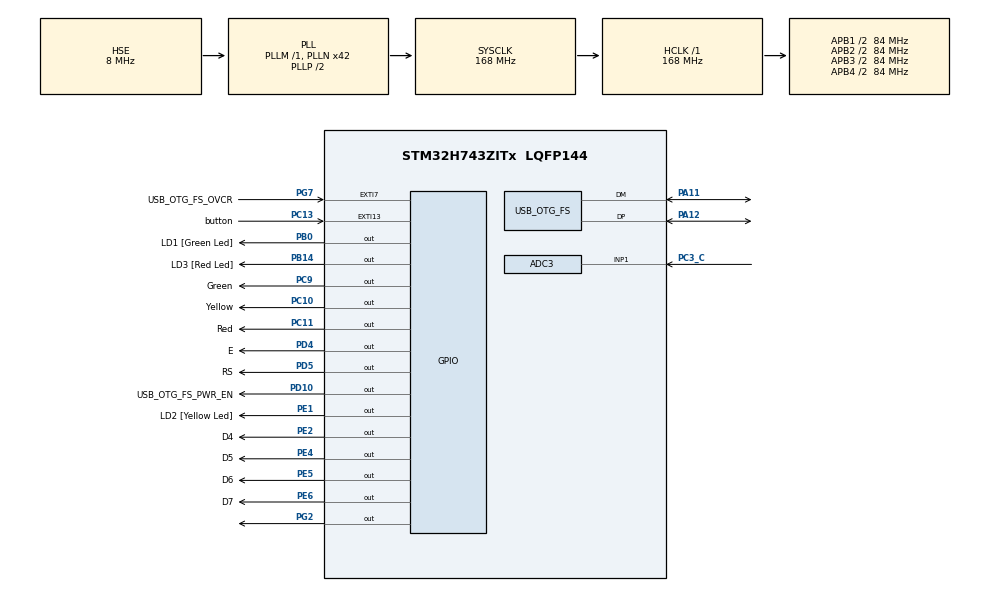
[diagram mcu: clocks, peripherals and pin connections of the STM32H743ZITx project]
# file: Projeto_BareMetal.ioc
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ADC3.Channel-0\#ChannelRegularConversion=ADC_CHANNEL_1
ADC3.ClockPrescalerADC3=ADC_CLOCK_ASYNC_DIV4
ADC3.ContinuousConvMode=ENABLE
ADC3.EOCSelection=ADC_EOC_SINGLE_CONV
ADC3.NbrOfConversion=1
ADC3.NbrOfConversionFlag=1
ADC3.OffsetNumber-0\#ChannelRegularConversion=ADC_OFFSET_NONE
ADC3.OffsetSignedSaturation-0\#ChannelRegularConversion=DISABLE
ADC3.Rank-0\#ChannelRegularConversion=1
ADC3.Resolution=ADC_RESOLUTION_12B
ADC3.SamplingTime-0\#ChannelRegularConversion=ADC_SAMPLETIME_64CYCLES_5
Mcu.Family=STM32H7
Mcu.Name=STM32H743ZITx
Mcu.Package=LQFP144
NVIC.ADC3_IRQn=true\:0\:0\:false\:false\:true\:true\:true\:true
NVIC.EXTI15_10_IRQn=true\:0\:0\:false\:false\:true\:true\:true\:true
NVIC.OTG_FS_IRQn=true\:0\:0\:false\:false\:true\:true\:true\:true
NVIC.PriorityGroup=NVIC_PRIORITYGROUP_4
NVIC.TIM5_IRQn=true\:0\:0\:false\:false\:true\:true\:true\:true
NVIC.TIM6_DAC_IRQn=true\:0\:0\:false\:false\:true\:true\:true\:true
NVIC.TIM7_IRQn=true\:0\:0\:false\:false\:true\:true\:true\:true
PA1.Signal=ETH_REF_CLK
PA11.Mode=Device_Only
PA11.Signal=USB_OTG_FS_DM
PA12.Mode=Device_Only
PA12.Signal=USB_OTG_FS_DP
PA13\ (JTMS/SWDIO).Mode=Serial_Wire
PA13\ (JTMS/SWDIO).Signal=DEBUG_JTMS-SWDIO
PA14\ (JTCK/SWCLK).Mode=Serial_Wire
PA14\ (JTCK/SWCLK).Signal=DEBUG_JTCK-SWCLK
PA2.Signal=ETH_MDIO
PA7.Signal=ETH_CRS_DV
PA8.Signal=USB_OTG_FS_SOF
PA9.Signal=USB_OTG_FS_VBUS
PB0.GPIO_Label=LD1 [Green Led]
PB0.Signal=GPIO_Output
PB13.Signal=ETH_TXD1
PB14.GPIO_Label=LD3 [Red Led]
PB14.Signal=GPIO_Output
PC1.Signal=ETH_MDC
PC10.GPIO_Label=Yellow
PC10.Signal=GPIO_Output
PC11.GPIO_Label=Red
PC11.Signal=GPIO_Output
PC13.GPIO_Label=button
PC13.GPIO_ModeDefaultEXTI=GPIO_MODE_IT_RISING_FALLING
PC13.Signal=GPXTI13
PC14-OSC32_IN\ (OSC32_IN).Mode=LSE-External-Oscillator
PC14-OSC32_IN\ (OSC32_IN).Signal=RCC_OSC32_IN
PC15-OSC32_OUT\ (OSC32_OUT).Mode=LSE-External-Oscillator
PC15-OSC32_OUT\ (OSC32_OUT).Signal=RCC_OSC32_OUT
PC3_C.Mode=IN1-Single-Ended
PC3_C.Signal=ADC3_INP1
PC4.Signal=ETH_RXD0
PC5.Signal=ETH_RXD1
PC9.GPIO_Label=Green
PC9.Signal=GPIO_Output
PD10.GPIO_Label=USB_OTG_FS_PWR_EN
PD10.Signal=GPIO_Output
PD4.GPIO_Label=E
PD4.Signal=GPIO_Output
PD5.GPIO_Label=RS
PD5.Signal=GPIO_Output
PD8.GPIO_Label=STLINK_RX
PD8.Signal=USART3_TX
PD9.GPIO_Label=STLINK_TX
PD9.Signal=USART3_RX
PE1.GPIO_Label=LD2 [Yellow Led]
PE1.Signal=GPIO_Output
PE2.GPIO_Label=D4
PE2.Signal=GPIO_Output
PE4.GPIO_Label=D5
PE4.Signal=GPIO_Output
PE5.GPIO_Label=D6
PE5.GPIO_Speed=GPIO_SPEED_FREQ_LOW
PE5.Signal=GPIO_Output
PE6.GPIO_Label=D7
PE6.Signal=GPIO_Output
PG11.Signal=ETH_TX_EN
PG13.Signal=ETH_TXD0
PG2.GPIO_PuPd=GPIO_PULLUP
PG2.Signal=GPIO_Output
PG7.GPIO_Label=USB_OTG_FS_OVCR
PG7.Signal=GPXTI7
PH0-OSC_IN\ (PH0).Mode=HSE-External-Oscillator
PH0-OSC_IN\ (PH0).Signal=RCC_OSC_IN
PH1-OSC_OUT\ (PH1).Mode=HSE-External-Oscillator
PH1-OSC_OUT\ (PH1).Signal=RCC_OSC_OUT
ProjectManager.HeapSize=0x200
ProjectManager.StackSize=0x400
ProjectManager.TargetToolchain=STM32CubeIDE
RCC.ADCFreq_Value=76000000
RCC.APB1Freq_Value=84000000
RCC.APB2Freq_Value=84000000
RCC.APB3Freq_Value=84000000
RCC.APB4Freq_Value=84000000
RCC.CortexFreq_Value=168000000
RCC.D1PPRE=RCC_APB3_DIV2
RCC.D2PPRE1=RCC_APB1_DIV2
RCC.D2PPRE2=RCC_APB2_DIV2
RCC.D3PPRE=RCC_APB4_DIV2
RCC.DIVM1=1
RCC.DIVM2=1
RCC.DIVN1=42
RCC.DIVN2=19
RCC.DIVQ1=7
RCC.HCLKFreq_Value=168000000
RCC.HSE_VALUE=8000000
RCC.PLLFRACN=0
RCC.PLLSourceVirtual=RCC_PLLSOURCE_HSE
RCC.PWR_Regulator_Voltage_Scale=PWR_REGULATOR_VOLTAGE_SCALE2
RCC.SYSCLKFreq_VALUE=168000000
RCC.SYSCLKSource=RCC_SYSCLKSOURCE_PLLCLK
RCC.USBFreq_Value=48000000
TIM1.Prescaler=168-1
TIM5.Period=5000
TIM5.Prescaler=16799
TIM6.Period=5000
TIM6.Prescaler=16799
TIM7.Period=5000
TIM7.Prescaler=16799
USB_DEVICE.CLASS_NAME_FS=CDC
USB_DEVICE.VirtualMode-CDC_FS=Cdc
USB_DEVICE.VirtualModeFS=Cdc_FS
USB_OTG_FS.VirtualMode=Device_Only
VP_MEMORYMAP_VS_MEMORYMAP.Mode=CurAppReg
VP_TIM1_VS_ClockSourceINT.Mode=Internal
VP_TIM5_VS_ClockSourceINT.Mode=Internal
VP_TIM6_VS_ClockSourceINT.Mode=Enable_Timer
VP_TIM7_VS_ClockSourceINT.Mode=Enable_Timer
VP_USB_DEVICE_VS_USB_DEVICE_CDC_FS.Mode=CDC_FS
board=NUCLEO-H743ZI2

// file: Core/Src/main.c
/* USER CODE BEGIN Header */
/**
  ******************************************************************************
  * @file           : main.c
  * @brief          : Main program body
  ******************************************************************************
  * @attention
  *
  * Copyright (c) 2024 STMicroelectronics.
  * All rights reserved.
  *
  * This software is licensed under terms that can be found in the LICENSE file
  * in the root directory of this software component.
  * If no LICENSE file comes with this software, it is provided AS-IS.
  *
  ******************************************************************************
  */
/* USER CODE END Header */
#include "main.h"
#include "adc.h"
#include "memorymap.h"
#include "tim.h"
#include "usb_device.h"
#include "gpio.h"

/* USER CODE BEGIN Includes */
#include "LCD1602.h"
#include "Data_Variables.h"
/* USER CODE END Includes */

/* USER CODE BEGIN PD */
#define CLICK_TIMEOUT 1000  // Tempo máximo entre cliques (1s)
#define TIMEOUT_ACTION3 3000  // Tempo máximo entre cliques (3s)
/* USER CODE END PD */

/* USER CODE BEGIN PV */
int8_t button = 0;              // Estado do botão: 1 = pressionado, -1 = solto

uint8_t flag_bloqueado = 0;
char command_send[16] = {0};

uint8_t flag_callback_timer6 = 0;
uint8_t flag_callback_timer7 = 0;

uint16_t frequencia_Buzzer = 0;        // Período do timer (em ms) para buzzer/LED
uint16_t frequencia_Led = 0;

uint8_t action_2_buzzer = 0;
uint8_t action_2_led = 0;

uint32_t time_action3_buzzer = 0;
uint32_t time_action3_led = 0;
uint32_t time_yellow_5Hz = 0;

float ldr_value = 0;

char comandos_ativos[5][5];  // Até 5 comandos, cada um com até 5 caracteres
volatile uint8_t num_comandos_ativos = 0;
/* USER CODE END PV */

void SystemClock_Config(void);
/* USER CODE BEGIN PFP */
void TaskButton(void);
void TaskBuzzer(char *command);
void Action2_TaskBuzzer(void);
void TaskLed(char *command);
void Action2_TaskLed(void);
void TaskUSB(void);
void Action3(void);
void Yellow_5Hz(void);

void Float_To_String(float valor, char *str);
void LCD_Methed(uint8_t i);
void Add_Comand(char *comando);
void Remove_Comand(char *comando);
/* USER CODE END PFP */

int main(void)
{

  /* MCU Configuration--------------------------------------------------------*/

  /* Reset of all peripherals, Initializes the Flash interface and the Systick. */
  HAL_Init();

  /* Configure the system clock */
  SystemClock_Config();

  /* Initialize all configured peripherals */
  MX_GPIO_Init();
  MX_USB_DEVICE_Init();
  MX_ADC3_Init();
  MX_TIM1_Init();
  MX_TIM5_Init();
  MX_TIM6_Init();
  MX_TIM7_Init();
  /* USER CODE BEGIN 2 */
  HAL_TIM_Base_Start(&htim1);
  lcd_init();
  LCD_Methed(0); // LCD on Start
  /* USER CODE END 2 */

  /* Infinite loop */
  while (1)
  {

    /* USER CODE BEGIN 3 */
	  TaskButton();
	  TaskUSB();

	  Yellow_5Hz();

	  if(flag_callback_timer7){
		  flag_callback_timer7 = 0,
		  Action2_TaskBuzzer();
	  }

	  if(flag_callback_timer6){
		  flag_callback_timer6 = 0;
		  Action2_TaskLed();
	  }

	  Action3();
  }
  /* USER CODE END 3 */
}

void SystemClock_Config(void)
{
  RCC_OscInitTypeDef RCC_OscInitStruct = {0};
  RCC_ClkInitTypeDef RCC_ClkInitStruct = {0};

  /** Supply configuration update enable
  */
  HAL_PWREx_ConfigSupply(PWR_LDO_SUPPLY);

  /** Configure the main internal regulator output voltage
  */
  __HAL_PWR_VOLTAGESCALING_CONFIG(PWR_REGULATOR_VOLTAGE_SCALE2);

  while(!__HAL_PWR_GET_FLAG(PWR_FLAG_VOSRDY)) {}

  /** Initializes the RCC Oscillators according to the specified parameters
  * in the RCC_OscInitTypeDef structure.
  */
  RCC_OscInitStruct.OscillatorType = RCC_OSCILLATORTYPE_HSE;
  RCC_OscInitStruct.HSEState = RCC_HSE_ON;
  RCC_OscInitStruct.PLL.PLLState = RCC_PLL_ON;
  RCC_OscInitStruct.PLL.PLLSource = RCC_PLLSOURCE_HSE;
  RCC_OscInitStruct.PLL.PLLM = 1;
  RCC_OscInitStruct.PLL.PLLN = 42;
  RCC_OscInitStruct.PLL.PLLP = 2;
  RCC_OscInitStruct.PLL.PLLQ = 7;
  RCC_OscInitStruct.PLL.PLLR = 2;
  RCC_OscInitStruct.PLL.PLLRGE = RCC_PLL1VCIRANGE_3;
  RCC_OscInitStruct.PLL.PLLVCOSEL = RCC_PLL1VCOWIDE;
  RCC_OscInitStruct.PLL.PLLFRACN = 0;
  if (HAL_RCC_OscConfig(&RCC_OscInitStruct) != HAL_OK)
  {
    Error_Handler();
  }

  /** Initializes the CPU, AHB and APB buses clocks
  */
  RCC_ClkInitStruct.ClockType = RCC_CLOCKTYPE_HCLK|RCC_CLOCKTYPE_SYSCLK
                              |RCC_CLOCKTYPE_PCLK1|RCC_CLOCKTYPE_PCLK2
                              |RCC_CLOCKTYPE_D3PCLK1|RCC_CLOCKTYPE_D1PCLK1;
  RCC_ClkInitStruct.SYSCLKSource = RCC_SYSCLKSOURCE_PLLCLK;
  RCC_ClkInitStruct.SYSCLKDivider = RCC_SYSCLK_DIV1;
  RCC_ClkInitStruct.AHBCLKDivider = RCC_HCLK_DIV1;
  RCC_ClkInitStruct.APB3CLKDivider = RCC_APB3_DIV2;
  RCC_ClkInitStruct.APB1CLKDivider = RCC_APB1_DIV2;
  RCC_ClkInitStruct.APB2CLKDivider = RCC_APB2_DIV2;
  RCC_ClkInitStruct.APB4CLKDivider = RCC_APB4_DIV2;

  if (HAL_RCC_ClockConfig(&RCC_ClkInitStruct, FLASH_LATENCY_3) != HAL_OK)
  {
    Error_Handler();
  }
}

/* USER CODE BEGIN 4 */
void TaskButton(void){
	static uint32_t button_press_time = 0; // Armazena o tempo em que o botão foi pressionado.
	static uint8_t Start_ToqueIntermitente = 0; // Indica se o toque intermitente foi iniciado.
	static uint8_t toggle_action_2_button = 0; // Controla o estado de ações com dois cliques.
	static uint8_t button_pressed = 0; // Indica se o botão está pressionado.
	static uint8_t n_button = 0; // Conta o número de cliques.

	// Se o sistema não está bloqueado:
	if (!flag_bloqueado) {
	    if (button == 1) { // Quando o botão é pressionado:
	        button = 0; // Reseta o estado do botão.
	        n_button++; // Incrementa o número de cliques.
	        if (n_button == 1) { // Ao pressionar pela primeira vez:
	            button_pressed = 1; // Indica que o botão foi pressionado.
	            button_press_time = HAL_GetTick(); // Armazena o tempo da primeira pressão.
	        }
	    } else if (button == -1) { // Quando o botão é solto:
	        button = 0; // Reseta o estado do botão.
	        button_pressed = 0; // Marca que o botão foi solto.
	    }
	}

	// Verifica se passou 1 segundo (tempo de clique longo):
	if ((HAL_GetTick() - button_press_time >= CLICK_TIMEOUT) && button_press_time != 0) {
	    if (button_pressed == 0) { // Se o botão não está mais pressionado:
	        if (Start_ToqueIntermitente == 0) { // Se o toque intermitente não começou:
	            if (n_button == 1) { // Clique simples:
	                Start_ToqueIntermitente = 1; // Inicia toque intermitente.
	                HAL_GPIO_WritePin(GPIOB, GPIO_PIN_0, GPIO_PIN_SET); // Liga um pino GPIO.
	                TaskBuzzer("ON B"); // Liga o buzzer.
	                TaskLed("ON L"); // Liga o LED.
	                Add_Comand("B"); // Adiciona o comando "B".
	                Add_Comand("L"); // Adiciona o comando "L".
	            }
	        } else {
	            if (n_button == 2) { // Clique duplo:
	                HAL_GPIO_TogglePin(GPIOE, GPIO_PIN_1); // Alterna o estado de um pino GPIO.
	                if (toggle_action_2_button ^= 1) {
	                    TaskBuzzer("ON B2"); // Liga o segundo buzzer.
	                    TaskLed("ON L2"); // Liga o segundo LED.
	                    Add_Comand("B2"); // Adiciona o comando "B2".
	                    Add_Comand("L2"); // Adiciona o comando "L2".
	                } else {
	                    TaskBuzzer("OFF B2"); // Desliga o segundo buzzer.
	                    TaskLed("OFF L2"); // Desliga o segundo LED.
	                    Remove_Comand("B2"); // Remove o comando "B2".
	                    Remove_Comand("L2"); // Remove o comando "L2".
	                }
	            } else if (n_button == 3) { // Clique triplo:
	                HAL_GPIO_WritePin(GPIOB, GPIO_PIN_14, GPIO_PIN_SET); // Liga outro pino GPIO.
	                TaskBuzzer("ON B3"); // Liga o terceiro buzzer.
	                TaskLed("ON L3"); // Liga o terceiro LED.
	            }
	        }
	    } else { // Se o botão ainda estiver pressionado:
	        // Reseta o sistema e desliga tudo:
	        Start_ToqueIntermitente = 0;
	        toggle_action_2_button = 0;
	        TaskBuzzer("OFF B");
	        TaskLed("OFF L");
	        Remove_Comand("B");
	        Remove_Comand("L");
	        Remove_Comand("B2");
	        Remove_Comand("L2");
	        HAL_GPIO_WritePin(GPIOB, GPIO_PIN_0, GPIO_PIN_RESET);
	        HAL_GPIO_WritePin(GPIOE, GPIO_PIN_1, GPIO_PIN_RESET);
	        HAL_GPIO_WritePin(GPIOB, GPIO_PIN_14, GPIO_PIN_RESET);
	    }
	    // Reseta o tempo de pressão e a contagem de cliques após processar o evento.
	    button_press_time = 0;
	    n_button = 0;
	}
}

void TaskBuzzer(char *command) {
    if (compare_buf(command, "ON B")) { // Ativa toque intermitente (0,5s)
        frequencia_Buzzer = 500; // Define a frequência do som.
        __HAL_TIM_SET_AUTORELOAD(&htim7, frequencia_Buzzer * 10); // Configura o timer para 500ms.
		__HAL_TIM_SET_COUNTER(&htim7, 0); // Reinicia o contador.
        HAL_TIM_Base_Start_IT(&htim7); // Inicia o timer com interrupção.

    } else if (compare_buf(command, "ON B2")) { // Ativa a ação 2 do buzzer (ajuste de frequência)
    	action_2_buzzer = 1; // Define a variável para executar a lógica de ajuste de frequência.

    } else if (compare_buf(command, "ON B3")) { // Toque rápido de 3s
    	if (action_2_buzzer == 1) {
    		action_2_buzzer = 2; // Coloca o buzzer em modo de espera (aguarda para não interromper).
    	}

    	time_action3_buzzer = HAL_GetTick(); // Armazena o tempo atual (usado para controlar a duração do som).
        __HAL_TIM_SET_AUTORELOAD(&htim7, 150 * 10); // Configura o timer para toque rápido de 150ms.
		__HAL_TIM_SET_COUNTER(&htim7, 0); // Reinicia o contador.
        HAL_TIM_Base_Start_IT(&htim7); // Inicia o timer com interrupção.

    } else if (compare_buf(command, "OFF B")) { // Desativa o buzzer
    	action_2_buzzer = 0; // Reseta a ação 2.
        HAL_GPIO_WritePin(GPIOG, GPIO_PIN_2, GPIO_PIN_RESET); // Desliga o GPIO responsável pelo buzzer.
        HAL_TIM_Base_Stop_IT(&htim7); // Para o timer do buzzer.

    } else if (compare_buf(command, "OFF B2")) { // Desativa a ação 2 do buzzer
    	action_2_buzzer = 0; // Reseta o modo da ação 2.

    } else if (compare_buf(command, "ON BU")) { // Emergência: buzzer ativo
        HAL_GPIO_WritePin(GPIOG, GPIO_PIN_2, GPIO_PIN_SET); // Liga o buzzer diretamente (modo emergência).

    } else if (compare_buf(command, "OFF BU")) { // Emergência: buzzer desativado
        HAL_GPIO_WritePin(GPIOG, GPIO_PIN_2, GPIO_PIN_RESET); // Desliga o buzzer em modo de emergência.
    }
}

void Action2_TaskBuzzer(void) {
	static int8_t invert = 1; // Controla o sentido do ajuste de frequência (aumentar/diminuir).
	static uint8_t toggle = 0; // Alterna o estado a cada chamada.

	if (action_2_buzzer == 1) { // Se a ação 2 estiver ativa:
		if (toggle ^= 1) { // Alterna o valor de toggle (muda o estado a cada chamada).
			if (frequencia_Buzzer <= 60) { // Se a frequência for muito alta, inverte o sentido (aumenta).
				invert = 1;
			} else if (frequencia_Buzzer >= 760) { // Se a frequência for muito baixa, inverte o sentido (diminui).
				invert = -1;
			}

			// Ajusta a frequência do buzzer aumentando ou diminuindo 20 unidades.
			frequencia_Buzzer = frequencia_Buzzer + 20 * invert;
			__HAL_TIM_SET_AUTORELOAD(&htim7, frequencia_Buzzer * 10); // Atualiza o timer com a nova frequência.
			__HAL_TIM_SET_COUNTER(&htim7, 0); // Reinicia o contador do timer.
			HAL_TIM_Base_Start_IT(&htim7); // Reinicia o timer.
		}
	}
}

void TaskLed(char *command) {
    if (compare_buf(command, "ON L")) { // Ativa o LED com frequência de 500ms
        frequencia_Led = 500; // Define a frequência do LED em 500ms
        __HAL_TIM_SET_AUTORELOAD(&htim6, frequencia_Led * 10); // Configura o timer 6 para 500ms
        __HAL_TIM_SET_COUNTER(&htim6, 0); // Reinicia o contador
        HAL_TIM_Base_Start_IT(&htim6); // Inicia o timer 6 com interrupção

        __HAL_TIM_SET_AUTORELOAD(&htim5, 1000 * 10); // Configura o timer 5 para 1000ms (1 segundo)
        __HAL_TIM_SET_COUNTER(&htim5, 0); // Reinicia o contador
        HAL_TIM_Base_Start_IT(&htim5); // Inicia o timer 5 com interrupção

    } else if (compare_buf(command, "ON L2")) { // Ativa a ação 2 do LED (ajuste de frequência)
        action_2_led = 1; // Sinaliza para iniciar o ajuste de frequência do LED

    } else if (compare_buf(command, "ON L3")) { // Toque rápido de LED
        if(action_2_led == 1){ // Se a ação 2 está ativa, coloca o LED em modo de espera
            action_2_led = 2; // Modo de espera
        }

        time_action3_led = HAL_GetTick(); // Armazena o tempo atual
        __HAL_TIM_SET_AUTORELOAD(&htim6, 150 * 10); // Configura o timer 6 para 150ms
        __HAL_TIM_SET_COUNTER(&htim6, 0); // Reinicia o contador
        HAL_TIM_Base_Start_IT(&htim6); // Inicia o timer 6 com interrupção

    } else if (compare_buf(command, "OFF L")) { // Desativa o LED
        action_2_led = 0; // Reseta a ação 2
        HAL_TIM_Base_Stop_IT(&htim5); // Para o timer 5
        HAL_TIM_Base_Stop_IT(&htim6); // Para o timer 6
        HAL_GPIO_WritePin(GPIOC, Green_Pin, GPIO_PIN_RESET); // Desliga o LED verde
        HAL_GPIO_WritePin(GPIOC, Yellow_Pin, GPIO_PIN_RESET); // Desliga o LED amarelo

    } else if (compare_buf(command, "OFF L2")) { // Desativa a ação 2 do LED
        action_2_led = 0; // Reseta a ação 2

    } else if (compare_buf(command, "ON LED")) { // Emergência: Ativa o LED vermelho
        HAL_GPIO_WritePin(GPIOC, Red_Pin, GPIO_PIN_SET); // Liga o LED vermelho

    } else if (compare_buf(command, "OFF LED")) { // Emergência: Desativa o LED vermelho
        HAL_GPIO_WritePin(GPIOC, Red_Pin, GPIO_PIN_RESET); // Desliga o LED vermelho
    }
}

void Yellow_5Hz(void) {
    static uint8_t count = 0;

    if ((HAL_GetTick() - time_yellow_5Hz >= 100) && time_yellow_5Hz != 0) {
        HAL_GPIO_TogglePin(GPIOC, Yellow_Pin); // Alterna o estado do LED amarelo

        if (count++ <= 9) { // Faz o LED piscar 5 vezes
            time_yellow_5Hz = HAL_GetTick(); // Atualiza o tempo para a próxima alternância
        } else {
            count = 0;
            time_yellow_5Hz = 0; // Reseta o tempo
            HAL_GPIO_WritePin(GPIOC, Yellow_Pin, GPIO_PIN_RESET); // Desliga o LED amarelo
        }
    }
}

void Action2_TaskLed(void) {
    static int8_t invert = 1; // Controla o sentido do ajuste de frequência
    static uint8_t toggle = 0; // Alterna o estado

    if (action_2_led == 1) { // Se a ação 2 está ativa
        if (toggle ^= 1) { // Alterna o valor de toggle (muda o estado a cada chamada)
            if (frequencia_Led <= 60) { // Frequência muito alta, inverte o sentido (aumentar frequência)
                invert = 1;
            } else if (frequencia_Led >= 760) { // Frequência muito baixa, inverte o sentido (diminuir frequência)
                invert = -1;
            }

            // Ajusta a frequência do LED
            frequencia_Led = frequencia_Led + 20 * invert;
            __HAL_TIM_SET_AUTORELOAD(&htim6, frequencia_Led * 10); // Atualiza o timer com a nova frequência
            __HAL_TIM_SET_COUNTER(&htim6, 0); // Reinicia o contador do timer
            HAL_TIM_Base_Start_IT(&htim6); // Reinicia o timer
        }
    }
}

void Action3(void) {
    // Verifica se o tempo limite (TIMEOUT_ACTION3) para a ação do buzzer foi atingido
    if ((HAL_GetTick() - time_action3_buzzer >= TIMEOUT_ACTION3) && time_action3_buzzer != 0) {
        time_action3_buzzer = 0; // Reseta o tempo do buzzer

        if (action_2_buzzer == 2) { // Se o buzzer está em modo de espera (2), retorna para ação 1
            action_2_buzzer = 1;
        }

        // Reinicia o timer do buzzer com a frequência atual
        __HAL_TIM_SET_AUTORELOAD(&htim7, frequencia_Buzzer * 10);
        __HAL_TIM_SET_COUNTER(&htim7, 0);
        HAL_TIM_Base_Start_IT(&htim7); // Inicia o timer do buzzer
        HAL_GPIO_WritePin(GPIOB, GPIO_PIN_14, GPIO_PIN_RESET); // Desliga o pino do GPIO (aciona hardware)
    }

    // Verifica se o tempo limite (TIMEOUT_ACTION3) para a ação do LED foi atingido
    if ((HAL_GetTick() - time_action3_led >= TIMEOUT_ACTION3) && time_action3_led != 0) {
        time_action3_led = 0; // Reseta o tempo do LED

        if (action_2_led == 2) { // Se o LED está em modo de espera (2), retorna para ação 1
            action_2_led = 1;
        }

        // Reinicia o timer do LED com a frequência atual
        __HAL_TIM_SET_AUTORELOAD(&htim6, frequencia_Led * 10);
        __HAL_TIM_SET_COUNTER(&htim6, 0);
        HAL_TIM_Base_Start_IT(&htim6); // Inicia o timer do LED
        HAL_GPIO_WritePin(GPIOB, GPIO_PIN_14, GPIO_PIN_RESET); // Desliga o pino do GPIO (aciona hardware)
    }
}

void TaskUSB(void) {
    static uint8_t start_ldr = 0;       // Flag para indicar se o LDR está ativo
    static uint8_t alarme = 0;          // Flag para ativar/desativar alarme
    static char str[5];                 // Buffer para armazenar valor do LDR como string

    static uint8_t display_leitura = 0; // Contador para exibir leituras no display
    static uint8_t pisca = 0;           // Controla o piscar de caracteres no display

    // Comandos e correspondentes para o Buzzer e LED
    char *command[10] = {"ON B", "OFF B", "ON B2", "OFF B2", "ON B3", "ON L", "OFF L", "ON L2", "OFF L2", "ON L3"};
    char *add_command[10] = {"B", "B", "B2", "B2", "", "L", "L", "L2", "L2", ""};

    // Processa o comando recebido
    if (command_send[0] != 0) {
        for (int h = 0; h < 10; h++) {
            if (compare_buf(command_send, command[h])) { // Compara comando
                if ((h >= 0) && (h <= 4)) {
                    TaskBuzzer(command[h]); // Aciona o Buzzer
                } else {
                    TaskLed(command[h]);    // Aciona o LED
                }

                // Adiciona ou remove comandos na lista de ativos
                if ((h == 0) || (h == 2) || (h == 5) || (h == 7)) {
                    Add_Comand(add_command[h]);
                } else if ((h == 1) || (h == 3) || (h == 6) || (h == 8)) {
                    Remove_Comand(add_command[h]);
                }
                break;
            }
        }

        // Comando para ativar o sensor LDR
        if (compare_buf(command_send, "ON LDR")) {
            if (start_ldr == 0) {
                HAL_ADC_Start_IT(&hadc3); // Inicia a leitura do LDR
                start_ldr = 1;
                LCD_Methed(1); // Muda o display para modo LDR
            }

        // Comando para desativar o LDR
        } else if (compare_buf(command_send, "OFF LDR")) {
            HAL_ADC_Stop_IT(&hadc3); // Para a leitura do LDR
            ldr_value = 0;
            start_ldr = 0;
            LCD_Methed(0); // Retorna o display ao modo inicial
        }

        // Limpa o buffer de comando
        for (int i = 0; i < 16; i++) {
            command_send[i] = 0;
        }
    }

    // Se o LDR está ativo, atualiza o display e verifica o valor do sensor
    if (start_ldr) {
        if (display_leitura++ == 10) { // Atualiza a cada 10 ciclos
            display_leitura = 0;

            // Pisca um caractere no display
            if (pisca ^= 1) {
                lcd_put_cur(1, 15);
                lcd_send_string("!");
            } else {
                lcd_put_cur(1, 15);
                lcd_send_string(".");
            }

            // Exibe o valor do LDR no display
            lcd_put_cur(0, 12);
            Float_To_String(ldr_value, str);
            lcd_send_string(str);
        }

        // Se o valor do LDR é maior que 2.5 e o alarme não está ativado
        if (ldr_value > 2.5 && !alarme) {
            TaskBuzzer("OFF B");  // Desativa o Buzzer
            TaskLed("OFF L");     // Desativa o LED

            TaskBuzzer("ON BU");  // Ativa o Buzzer de emergência
            TaskLed("ON LED");    // Ativa o LED vermelho de emergência

            flag_bloqueado = 1;   // Bloqueia a função
            alarme = 1;           // Ativa o alarme

        // Se o valor do LDR é menor que 2.2 e o alarme está ativado
        } else if (ldr_value < 2.2 && alarme) {
            TaskBuzzer("OFF BU"); // Desativa o Buzzer de emergência
            TaskLed("OFF LED");   // Desativa o LED de emergência

            flag_bloqueado = 0;   // Desbloqueia a função

            // Verifica quais comandos estavam ativos antes do alarme
            for (int i = 0; i < num_comandos_ativos; i++) {
                if (strcmp(comandos_ativos[i], "B") == 0) {
                    TaskBuzzer("ON B");
                } else if (strcmp(comandos_ativos[i], "B2") == 0) {
                    TaskBuzzer("ON B2");
                } else if (strcmp(comandos_ativos[i], "L") == 0) {
                    TaskLed("ON L");
                } else if (strcmp(comandos_ativos[i], "L2") == 0) {
                    TaskLed("ON L2");
                }
            }

            alarme = 0; // Desativa o alarme
        }
    }
}

void Float_To_String(float valor, char *str) {
    // Parte inteira do valor
    int parteInteira = (int)valor;
    // Calcula a parte fracionária
    int parteFracionaria = (int)((valor - parteInteira) * 100);

    // Converte a parte inteira para string
    int indice = 0;
    str[indice++] = parteInteira + '0';

    // Adiciona o ponto decimal
    str[indice++] = '.';

    // Converte a parte fracionária para string
    str[indice++] = ((parteFracionaria / 10) % 10) + '0';
    str[indice++] = (parteFracionaria % 10) + '0';

    // Finaliza a string
    str[indice] = '\0';
}

void LCD_Methed(uint8_t Methed){
	lcd_clear();

	if(Methed){
		lcd_put_cur(0,0);
		lcd_send_string("LDR Value : ");
		lcd_put_cur(1,0);
		lcd_send_string("SE -> FreeRTOS");
	}else{
		lcd_put_cur(0,6);
		lcd_send_string("OFF!");
		lcd_put_cur(1,0);
		lcd_send_string("MEEC-> SETR-> G3");
	}
}

// Função para adicionar um comando à lista de comandos ativos
void Add_Comand(char *comando) {
    // Verificar se o comando já está ativo
    for (int i = 0; i < num_comandos_ativos; i++) {
        if (strcmp(comandos_ativos[i], comando) == 0) {
            // Se o comando já está ativo, não adiciona novamente
            return;
        }
    }

    // Se o comando não está ativo, adiciona-o à lista
    if (num_comandos_ativos < 10) {
        strcpy(comandos_ativos[num_comandos_ativos], comando);
        num_comandos_ativos++;
    }
}

// Função para remover um comando da lista de comandos ativos
void Remove_Comand(char *comando) {
    for (int i = 0; i < num_comandos_ativos; i++) {
        if (strcmp(comandos_ativos[i], comando) == 0) {
            // Mover os comandos para preencher o espaço do comando removido
            for (int j = i; j < num_comandos_ativos - 1; j++) {
                strcpy(comandos_ativos[j], comandos_ativos[j + 1]);
            }
            num_comandos_ativos--;
            break;
        }
    }
}
/* USER CODE END 4 */

void Error_Handler(void)
{
  __disable_irq();
  while (1)
  {
  }
}
